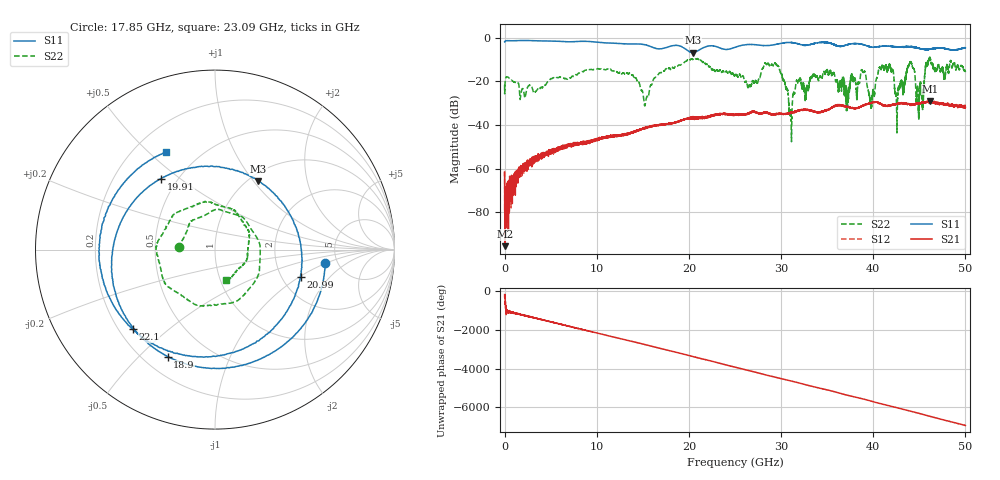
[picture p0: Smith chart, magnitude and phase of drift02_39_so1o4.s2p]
!Created with skrf (http://scikit-rf.org).
# Hz S RI R 50.0
!freq ReS11 ImS11 ReS21 ImS21 ReS12 ImS12 ReS22 ImS22
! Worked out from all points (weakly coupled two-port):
!   10001 points, 300 kHz to 50 GHz, reference 50 ohm
!   highest |S21| = -29.06 dB at 46.2 GHz (marker M1); lowest = -95.5 dB at 55.3 MHz (marker M2)
!   lowest |S11| = -6.9 dB at 20.41 GHz (marker M3), VSWR 2.64, Z = 55.4 + j52.9 ohm
!   |S11| at or under -10 dB: nowhere
!   |S22| runs from -47.7 to -8.9 dB; largest |S21 - S12| = 0.0031
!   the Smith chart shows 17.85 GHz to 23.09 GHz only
!   S11 on the Smith chart (normalised r, x): 17.85 GHz: 3.98, -0.94; 18.9 GHz: 0.29, -0.61; 19.91 GHz: 0.41, +0.43; 20.99 GHz: 2.52, -1.03; 22.1 GHz: 0.25, -0.38; 23.09 GHz: 0.33, +0.57
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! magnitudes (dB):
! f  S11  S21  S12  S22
! 300 kHz  -2.0  -61.8  -61.0  -21.7
! 55.3 MHz  -1.6  -95.5  -81.4  -20.3
! 8.335 GHz  -1.7  -48.6  -48.4  -15.7
! 15.33 GHz  -3.4  -41.5  -41.2  -29.0
! 16.67 GHz  -5.2  -40.0  -40.1  -17.0
! 17.85 GHz  -4.2  -39.5  -39.5  -13.9
! 18.9 GHz  -3.7  -38.5  -38.4  -12.5
! 19.91 GHz  -6.1  -37.1  -37.1  -10.1
! 20.41 GHz  -6.9  -36.8  -36.7  -10.0
! 20.99 GHz  -6.0  -36.6  -36.5  -9.8
! 22.1 GHz  -3.9  -36.2  -36.3  -12.9
! 23.09 GHz  -4.3  -35.2  -35.3  -15.0
! 25 GHz  -4.5  -35.4  -35.3  -17.6
! 29.51 GHz  -3.1  -34.7  -35.2  -12.6
! 31.03 GHz  -2.3  -34.4  -34.8  -33.0
! 33.34 GHz  -3.0  -33.6  -33.6  -18.0
! 39.75 GHz  -4.3  -30.0  -30.1  -31.3
! 41.67 GHz  -4.0  -31.2  -31.1  -13.1
! 44.17 GHz  -4.2  -30.6  -30.8  -11.9
! 44.85 GHz  -4.7  -30.2  -30.3  -23.6
! 46.2 GHz  -5.2  -29.1  -29.2  -9.8
! 50 GHz  -4.7  -31.8  -31.7  -15.8
